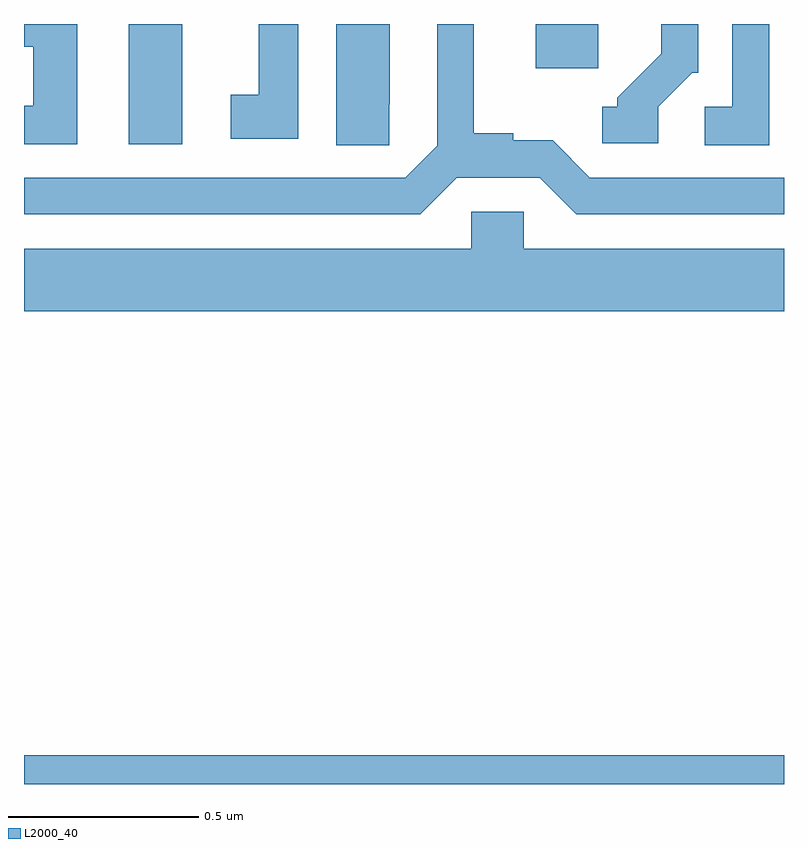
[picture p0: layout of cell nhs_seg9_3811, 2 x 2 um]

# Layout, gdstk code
import gdstk
lib = gdstk.Library(unit=1e-6, precision=1e-09)
def R(c, l, rs):  # rectangles x0, y0, x1, y1
    for r in rs: c.add(gdstk.rectangle(r[:2], r[2:], *l))
def P(c, l, *ps):  # polygons
    for p in ps: c.add(gdstk.Polygon(p, *l))
L2000_40 = (2000, 40)

nhs_seg9_3811 = lib.new_cell('nhs_seg9_3811')
R(nhs_seg9_3811, L2000_40, [(158,1204.5,160,1204.576), (158.276,1206.183,158.416,1206.5), (159.347,1206.384,159.511,1206.5)])
P(nhs_seg9_3811, L2000_40, [(159.139,1206.096),(159.357,1206.096),(159.453,1206),(160,1206),(160,1206.096),(159.489,1206.096),(159.392,1206.194),(159.288,1206.194),(159.288,1206.212),(159.184,1206.212),(159.184,1206.5),(159.087,1206.5),(159.087,1206.18),(159.003,1206.096),(158,1206.096),(158,1206),(159.043,1206)],
  [(159.961,1206.5),(159.864,1206.5),(159.864,1206.282),(159.792,1206.282),(159.792,1206.181),(159.961,1206.181)],
  [(158.722,1206.5),(158.618,1206.5),(158.618,1206.314),(158.544,1206.314),(158.544,1206.198),(158.722,1206.198)],
  [(159.669,1206.282),(159.759,1206.372),(159.774,1206.372),(159.774,1206.5),(159.677,1206.5),(159.677,1206.422),(159.561,1206.306),(159.561,1206.282),(159.522,1206.282),(159.522,1206.186),(159.669,1206.186)],
  [(158.961,1206.289),(158.962,1206.289),(158.962,1206.5),(158.822,1206.5),(158.822,1206.181),(158.961,1206.181)],
  [(158.14,1206.5),(158,1206.5),(158,1206.44),(158.024,1206.44),(158.024,1206.285),(158,1206.285),(158,1206.183),(158.14,1206.183)],
  [(160,1205.908),(159.315,1205.908),(159.315,1206.006),(159.177,1206.006),(159.177,1205.908),(158,1205.908),(158,1205.744),(160,1205.744)])

lib.write_gds('nhs_seg9_3811.gds')
